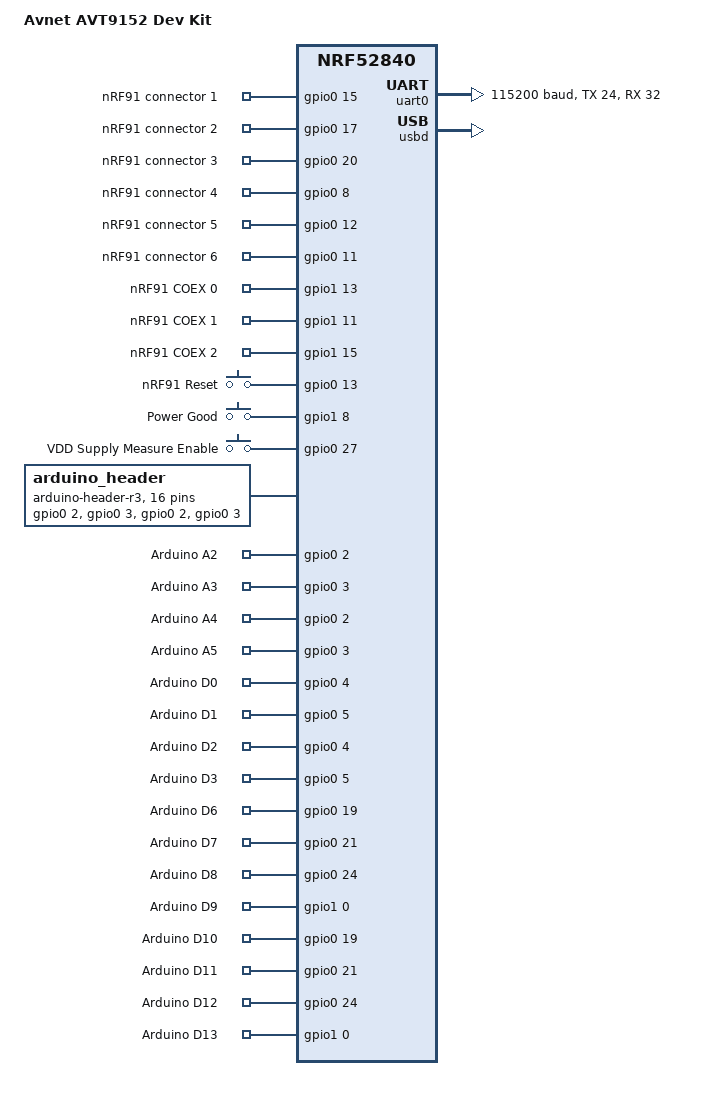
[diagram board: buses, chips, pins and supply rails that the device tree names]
/*
 * Copyright (c) 2017 Linaro Limited
 *
 * SPDX-License-Identifier: Apache-2.0
 */

/dts-v1/;
#include <nordic/nrf52840_qiaa.dtsi>

/ {
	model = "Avnet AVT9152 Dev Kit";
	compatible = "avnet,nrf52840-avt9152";

	chosen {
		zephyr,console = &uart0;
		zephyr,shell-uart = &uart0;
		zephyr,uart-mcumgr = &uart0;
		zephyr,bt-mon-uart = &uart0;
		zephyr,sram = &sram0;
		zephyr,flash = &flash0;
	};

	inter_conns {
		compatible = "gpio-keys";
		inter_conn0: inter_conn_0 {
			gpios = <&gpio0 15 0>;
			label = "nRF91 connector 1";
		};
		inter_conn1: inter_conn_1 {
			gpios = <&gpio0 17 0>;
			label = "nRF91 connector 2";
		};
		inter_conn2: inter_conn_2 {
			gpios = <&gpio0 20 0>;
			label = "nRF91 connector 3";
		};
		inter_conn3: inter_conn_3 {
			gpios = <&gpio0 8 0>;
			label = "nRF91 connector 4";
		};
		inter_conn4: inter_conn_4 {
			gpios = <&gpio0 12 0>;
			label = "nRF91 connector 5";
		};
		inter_conn5: inter_conn_5 {
			gpios = <&gpio0 11 0>;
			label = "nRF91 connector 6";
		};
		inter_conn6: inter_conn_6 {
			gpios = <&gpio1 13 0>;
			label = "nRF91 COEX 0";
		};
		inter_conn7: inter_conn_7 {
			gpios = <&gpio1 11 0>;
			label = "nRF91 COEX 1";
		};
		inter_conn8: inter_conn_8 {
			gpios = <&gpio1 15 0>;
			label = "nRF91 COEX 2";
		};
		inter_conn9: inter_conn_9 {
			gpios = <&gpio0 13 (GPIO_OPEN_DRAIN)>;
			label = "nRF91 Reset";
		};

		inter_conn11: inter_conn_11 {
			gpios = <&gpio1 8 (GPIO_PULL_UP)>;
			label = "Power Good";
		};
		inter_conn12: inter_conn_12 {
			gpios = <&gpio0 27 0>;
			label = "VDD Supply Measure Enable";
		};
	};

	arduino_header: connector {
		compatible = "arduino-header-r3";
		#gpio-cells = <2>;
		gpio-map-mask = <0xffffffff 0xffffffc0>;
		gpio-map-pass-thru = <0 0x3f>;
		gpio-map = <2 0 &gpio0 2 0>,	/* A2 */
			   <3 0 &gpio0 3 0>,	/* A3 */
			   <4 0 &gpio0 2 0>,	/* A4 */
			   <5 0 &gpio0 3 0>,	/* A5 */
			   <6 0 &gpio0 4 0>,	/* D0 */
			   <7 0 &gpio0 5 0>,	/* D1 */
			   <8 0 &gpio0 4 0>,	/* D2 */
			   <9 0 &gpio0 5 0>,	/* D3 */
			   <12 0 &gpio0 19 0>,	/* D6 */
			   <13 0 &gpio0 21 0>,	/* D7 */
			   <14 0 &gpio0 24 0>,	/* D8 */
			   <15 0 &gpio1 0 0>,	/* D9 */
			   <16 0 &gpio0 19 0>,	/* D10 */
			   <17 0 &gpio0 21 0>,	/* D11 */
			   <18 0 &gpio0 24 0>,	/* D12 */
			   <19 0 &gpio1 0 0>;	/* D13 */
	};

	arduino_pins {
		compatible = "gpio-keys";
		arduino_pin2: arduino_pin_2 {
			gpios = <&gpio0 2 0>;
			label = "Arduino A2";
		};
		arduino_pin3: arduino_pin_3 {
			gpios = <&gpio0 3 0>;
			label = "Arduino A3";
		};
		arduino_pin4: arduino_pin_4 {
			gpios = <&gpio0 2 0>;
			label = "Arduino A4";
		};
		arduino_pin5: arduino_pin_5 {
			gpios = <&gpio0 3 0>;
			label = "Arduino A5";
		};
		arduino_pin6: arduino_pin_6 {
			gpios = <&gpio0 4 0>;
			label = "Arduino D0";
		};
		arduino_pin7: arduino_pin_7 {
			gpios = <&gpio0 5 0>;
			label = "Arduino D1";
		};
		arduino_pin8: arduino_pin_8 {
			gpios = <&gpio0 4 0>;
			label = "Arduino D2";
		};
		arduino_pin9: arduino_pin_9 {
			gpios = <&gpio0 5 0>;
			label = "Arduino D3";
		};
		arduino_pin12: arduino_pin_12 {
			gpios = <&gpio0 19 0>;
			label = "Arduino D6";
		};
		arduino_pin13: arduino_pin_13 {
			gpios = <&gpio0 21 0>;
			label = "Arduino D7";
		};
		arduino_pin14: arduino_pin_14 {
			gpios = <&gpio0 24 0>;
			label = "Arduino D8";
		};
		arduino_pin15: arduino_pin_15 {
			gpios = <&gpio1 0 0>;
			label = "Arduino D9";
		};
		arduino_pin16: arduino_pin_16 {
			gpios = <&gpio0 19 0>;
			label = "Arduino D10";
		};
		arduino_pin17: arduino_pin_17 {
			gpios = <&gpio0 21 0>;
			label = "Arduino D11";
		};
		arduino_pin18: arduino_pin_18 {
			gpios = <&gpio0 24 0>;
			label = "Arduino D12";
		};
		arduino_pin19: arduino_pin_19 {
			gpios = <&gpio1 0 0>;
			label = "Arduino D13";
		};
	};

	/* These aliases are provided for compatibility with samples */
	aliases {
	
		interconn-c0 = &inter_conn0;
		interconn-c1 = &inter_conn1;
		interconn-c2 = &inter_conn2;
		interconn-c3 = &inter_conn3;
		interconn-c4 = &inter_conn4;
		interconn-c5 = &inter_conn5;
		nrf91-coex0 = &inter_conn6;
		nrf91-coex1 = &inter_conn7;
		nrf91-coex2 = &inter_conn8;
		nrf91-reset = &inter_conn9;
		pwr-good = &inter_conn11;
		vdd-meas-enable = &inter_conn12;
		
		ard-a2 = &arduino_pin2;
		ard-a3 = &arduino_pin3;
		ard-a4 = &arduino_pin4;
		ard-a5 = &arduino_pin5;
		ard-d0 = &arduino_pin6;
		ard-d1 = &arduino_pin7;
		ard-d2 = &arduino_pin8;
		ard-d3 = &arduino_pin9;
		ard-d6 = &arduino_pin12;
		ard-d7 = &arduino_pin13;
		ard-d8 = &arduino_pin14;
		ard-d9 = &arduino_pin15;
		ard-d10 = &arduino_pin16;
		ard-d11 = &arduino_pin17;
		ard-d12 = &arduino_pin18;
		ard-d13 = &arduino_pin19;
		
		sens-i2c = &i2c0;
	};
};

&gpio0 {
	status = "okay";
};

&gpio1 {
	status = "okay";
};

&uart0 {
	compatible = "nordic,nrf-uart";
	status = "okay";
	current-speed = <115200>;
	tx-pin = <24>;
	rx-pin = <32>;
};

&flash0 {
	/*
	 * For more information, see:
	 * https://docs.zephyrproject.org/latest/guides/dts/legacy-macros.html#legacy-flash-partitions
	 */
	partitions {
		compatible = "fixed-partitions";
		#address-cells = <1>;
		#size-cells = <1>;

		boot_partition: partition@0 {
			label = "mcuboot";
			reg = <0x000000000 0x0000C000>;
		};
		slot0_partition: partition@c000 {
			label = "image-0";
			reg = <0x0000C000 0x00067000>;
		};
		slot1_partition: partition@73000 {
			label = "image-1";
			reg = <0x00073000 0x00067000>;
		};
		scratch_partition: partition@da000 {
			label = "image-scratch";
			reg = <0x000da000 0x0001e000>;
		};

		/*
		 * The flash starting at 0x000f8000 and ending at
		 * 0x000fffff is reserved for use by the application.
		 */

		/*
		 * Storage partition will be used by FCB/LittleFS/NVS
		 * if enabled.
		 */
		storage_partition: partition@f8000 {
			label = "storage";
			reg = <0x000f8000 0x00008000>;
		};
	};
};

&usbd {
	compatible = "nordic,nrf-usbd";
	status = "okay";
};
